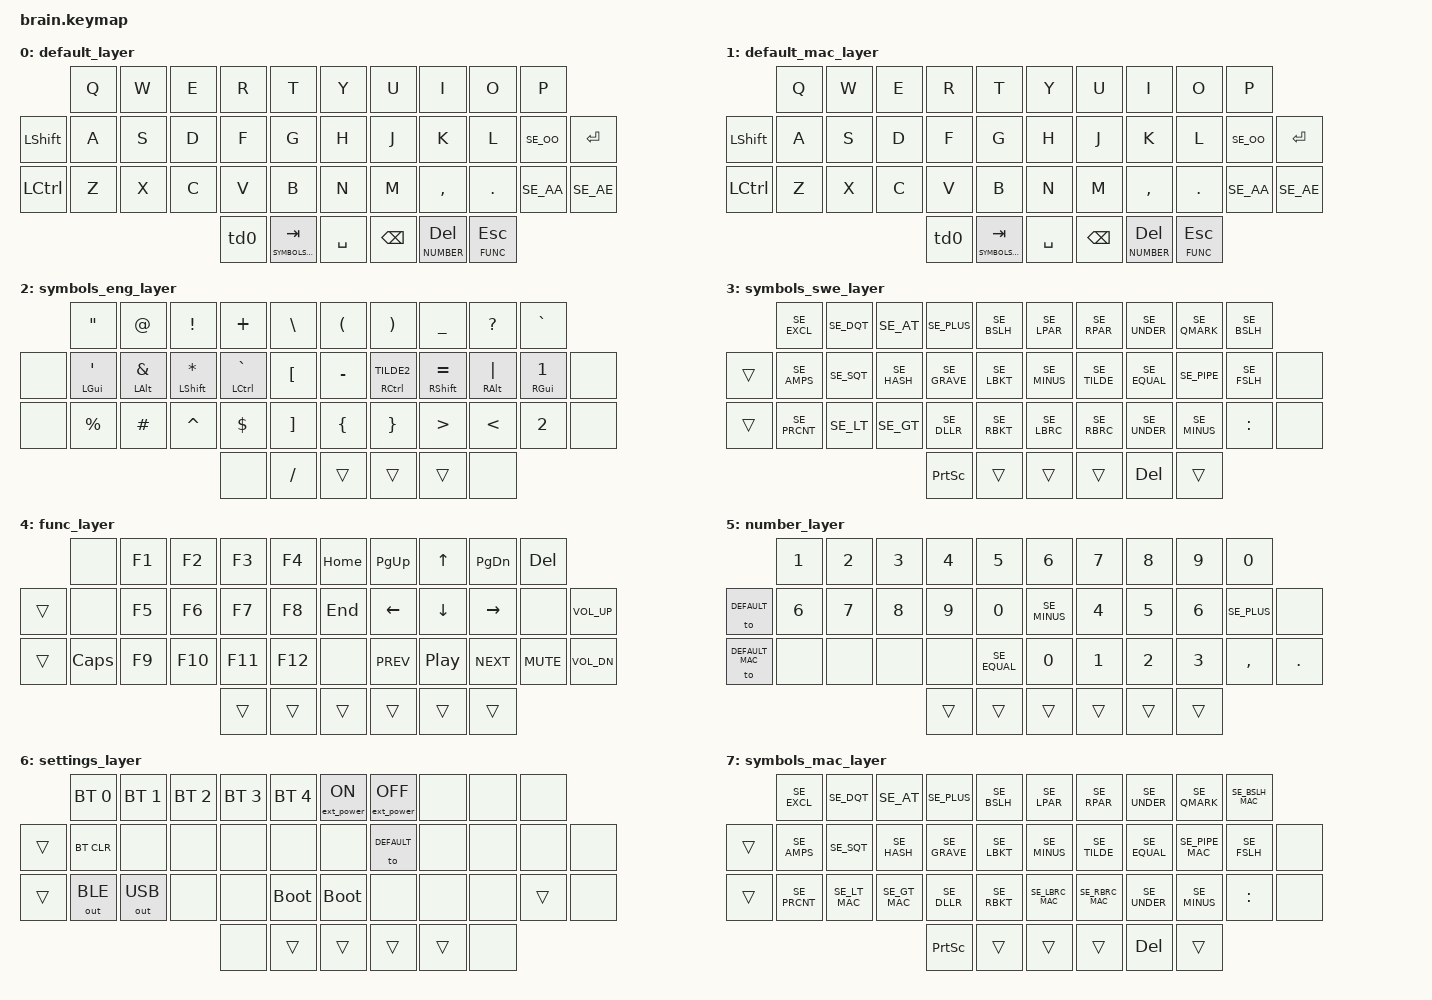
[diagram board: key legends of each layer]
/*
 * Copyright (c) 2020 The ZMK Contributors
 *
 * SPDX-License-Identifier: MIT
 */

#include <behaviors.dtsi>
#include <dt-bindings/zmk/keys.h>
#include <dt-bindings/zmk/bt.h>
#include <dt-bindings/zmk/outputs.h>
#include <dt-bindings/zmk/ext_power.h>
#include "swe_keys.h"


#define DEFAULT     0
#define DEFAULT_MAC 1
#define SYMBOLS_ENG 2
#define SYMBOLS_SWE 3
#define FUNC        4
#define NUMBER      5
#define SETTINGS    6
#define SYMBOLS_MAC 7

/ {
    behaviors {
        hm: homerow_mods {
            compatible = "zmk,behavior-hold-tap";
            label = "HOMEROW_MODS";
            #binding-cells = <2>;
            tapping-term-ms = <200>;
            quick-tap-ms = <0>;
            flavor = "tap-preferred";
            bindings = <&kp>, <&kp>;
        };
        hs: homerow_mods_slow {
            compatible = "zmk,behavior-hold-tap";
            label = "HOMEROW_MODS_SLOW";
            #binding-cells = <2>;
            tapping-term-ms = <300>;
            quick-tap-ms = <0>;
            flavor = "tap-preferred";
            bindings = <&kp>, <&kp>;
        };
        td0: tap_dance_0 {
            compatible = "zmk,behavior-tap-dance";
            label = "TAP_DANCE_0";
            #binding-cells = <0>;
            tapping-term-ms = <300>;
            bindings = <&kp LGUI>, <&kp LEFT_ALT>;
        };
    };
    cond_layers {
        compatible = "zmk,conditional-layers";
        // Define SETTINGS layer as tri-state
        func_tristate {
            if-layers = <NUMBER FUNC>;
            then-layer = <SETTINGS>;
        };
    };

/*           40 Keys
╭─────────────────╮ ╭─────────────────╮
│    0  1  2  3  4│ │ 5  6  7  8  9   │
│10 11 12 13 14 15│ │16 17 18 19 20 21│
│22 23 24 25 26 27│ │28 29 30 31 32 33│
╰────────╮34 35 36│ │37 38 39╭────────╯
         ╰────────╯ ╰────────╯       */
/*    combos {
        compatible = "zmk,combos";

        combo_esc {
            timeout-ms = <50>;
            key-positions = <0 1>;
            bindings = <&kp ESC>;
        };
        combo_tab {
            timeout-ms = <50>;
            key-positions = <10 11>;
            bindings = <&kp TAB>;
        };
        combo_ralt {
            timeout-ms = <50>;
            key-positions = <17 16>;
            bindings = <&kp RALT>;
        };
        combo_lalt {
            timeout-ms = <50>;
            key-positions = <11 12>;
            bindings = <&kp LALT>;
        };
        combo_lgui {
            timeout-ms = <50>;
            key-positions = <12 13>;
            bindings = <&kp LGUI>;
        };
        combo_rgui {
            timeout-ms = <50>;
            key-positions = <17 18>;
            bindings = <&kp RGUI>;
        };
    }; */

    keymap {
        compatible = "zmk,keymap";

        default_layer {
            bindings = <
                 &kp Q    &kp W    &kp E    &kp R    &kp T       &kp Y                 &kp U     &kp I    &kp O    &kp P
     &kp LSHIFT  &kp A    &kp S    &kp D    &kp F    &kp G       &kp H                 &kp J     &kp K    &kp L    &kp SE_OO    &kp ENTER
     &kp LCTRL   &kp Z    &kp X    &kp C    &kp V    &kp B       &kp N                 &kp M     &kp COMMA    &kp DOT     &kp SE_AA     &kp SE_AE
                                           &td0  &lt SYMBOLS_SWE TAB  &kp SPACE    &kp BSPC  &lt NUMBER DEL &lt FUNC ESC
            >;
        };

        default_mac_layer {
            bindings = <
                 &kp Q    &kp W    &kp E    &kp R    &kp T       &kp Y                 &kp U     &kp I    &kp O    &kp P
     &kp LSHIFT  &kp A    &kp S    &kp D    &kp F    &kp G       &kp H                 &kp J     &kp K    &kp L    &kp SE_OO    &kp ENTER
     &kp LCTRL   &kp Z    &kp X    &kp C    &kp V    &kp B       &kp N                 &kp M     &kp COMMA    &kp DOT     &kp SE_AA     &kp SE_AE
                                           &td0  &lt SYMBOLS_MAC TAB  &kp SPACE    &kp BSPC  &lt NUMBER DEL &lt FUNC ESC
            >;
        };

        symbols_eng_layer {
            bindings = <
            &kp DQT       &kp AT         &kp EXCL         &kp PLUS         &kp BSLH    &kp LPAR   &kp RPAR          &kp UNDER         &kp QMARK      &kp GRAVE
     &none  &hs LGUI SQT  &hm LALT AMPS  &hm LSHIFT STAR  &hm LCTRL GRAVE  &kp LBKT    &kp MINUS  &hm RCTRL TILDE2  &hm RSHIFT EQUAL  &hm RALT PIPE  &hs RGUI N1 &none
     &none  &kp PRCNT     &kp HASH       &kp CARET        &kp DLLR         &kp RBKT    &kp LBRC   &kp RBRC          &kp GT            &kp LT         &kp N2 &none
                                                   &none  &kp FSLH         &trans      &trans     &trans &none
            >;
        };

        symbols_swe_layer {
            bindings = <
                &kp SE_EXCL      &kp SE_DQT       &kp SE_AT     &kp SE_PLUS   &kp SE_BSLH   &kp SE_LPAR   &kp SE_RPAR   &kp SE_UNDER    &kp SE_QMARK    &kp SE_BSLH
     &trans     &kp SE_AMPS      &kp SE_SQT     &kp SE_HASH     &kp SE_GRAVE  &kp SE_LBKT   &kp SE_MINUS  &kp SE_TILDE  &kp SE_EQUAL    &kp SE_PIPE     &kp SE_FSLH &none
     &trans     &kp SE_PRCNT    &kp SE_LT       &kp SE_GT    &kp SE_DLLR   &kp SE_RBKT   &kp SE_LBRC   &kp SE_RBRC   &kp SE_UNDER      &kp SE_MINUS       &kp COLON       &none
                                                                &kp PSCRN  &trans  &trans   &trans        &kp DEL       &trans
            >;
        };

        func_layer {
            bindings = <
            &none     &kp F1  &kp F2   &kp F3   &kp F4     &kp HOME   &kp PG_UP      &kp UP       &kp PG_DN   &kp DEL
     &trans &none     &kp F5  &kp F6   &kp F7   &kp F8     &kp END    &kp LEFT       &kp DOWN     &kp RIGHT   &none         &kp C_VOL_UP
     &trans &kp CAPS  &kp F9  &kp F10  &kp F11  &kp F12    &none      &kp C_PREV     &kp C_PP     &kp C_NEXT  &kp K_MUTE    &kp C_VOL_DN
                                &trans  &trans   &trans    &trans     &trans         &trans
            >;
        };

        number_layer {
            bindings = <
                &kp N1      &kp N2      &kp N3      &kp N4      &kp N5              &kp N6          &kp N7      &kp N8      &kp N9      &kp N0
     &to DEFAULT     &kp N6      &kp N7      &kp N8      &kp N9      &kp N0              &kp SE_MINUS    &kp N4      &kp N5      &kp N6      &kp SE_PLUS     &none
     &to DEFAULT_MAC     &none       &none       &none       &none       &kp SE_EQUAL        &kp N0          &kp N1      &kp N2      &kp N3      &kp COMMA       &kp DOT
                                             &trans  &trans      &trans             &trans          &trans      &trans
            >;
        };

        settings_layer {
            bindings = <
                &bt BT_SEL 0  &bt BT_SEL 1  &bt BT_SEL 2    &bt BT_SEL 3  &bt BT_SEL 4   &ext_power EP_ON  &ext_power EP_OFF    &none  &none       &none
     &trans     &bt BT_CLR    &none         &none           &none         &none          &none             &to DEFAULT          &none  &none  &none    &none
     &trans     &out OUT_BLE  &out OUT_USB  &none           &none         &bootloader    &bootloader       &none                &none  &none       &trans   &none
                                            &none           &trans        &trans         &trans            &trans               &none
            >;
        };

        symbols_mac_layer {
            bindings = <
                &kp SE_EXCL      &kp SE_DQT       &kp SE_AT     &kp SE_PLUS   &kp SE_BSLH   &kp SE_LPAR   &kp SE_RPAR   &kp SE_UNDER    &kp SE_QMARK    &kp SE_BSLH_MAC
     &trans     &kp SE_AMPS      &kp SE_SQT     &kp SE_HASH     &kp SE_GRAVE  &kp SE_LBKT   &kp SE_MINUS  &kp SE_TILDE  &kp SE_EQUAL    &kp SE_PIPE_MAC     &kp SE_FSLH &none
     &trans     &kp SE_PRCNT    &kp SE_LT_MAC       &kp SE_GT_MAC    &kp SE_DLLR   &kp SE_RBKT   &kp SE_LBRC_MAC   &kp SE_RBRC_MAC   &kp SE_UNDER      &kp SE_MINUS       &kp COLON       &none
                                                                &kp PSCRN  &trans  &trans   &trans        &kp DEL       &trans
            >;
        };
    };
};

